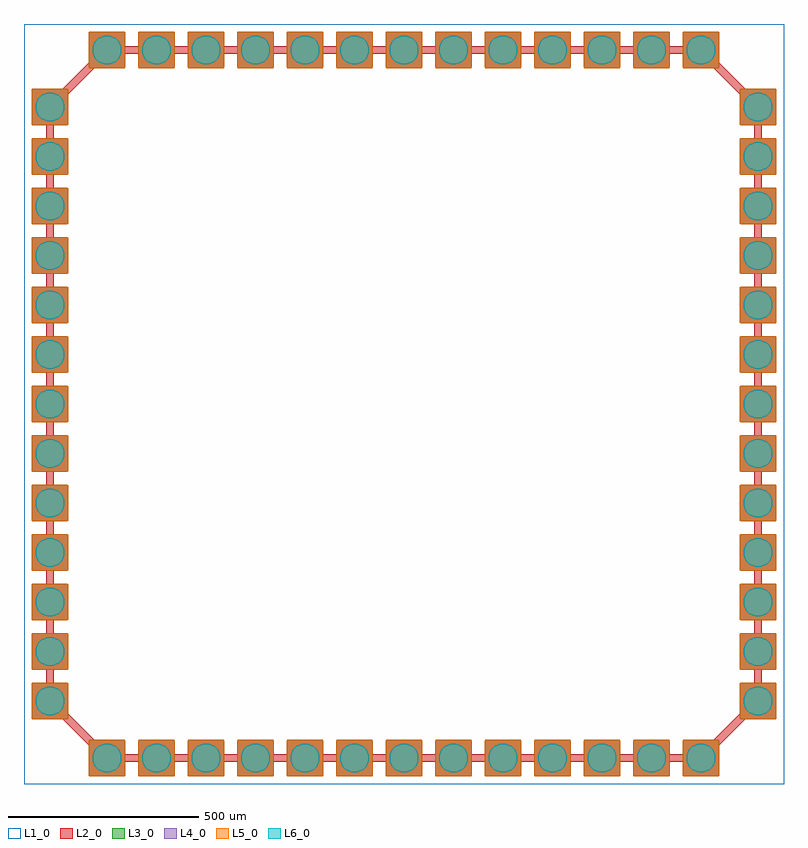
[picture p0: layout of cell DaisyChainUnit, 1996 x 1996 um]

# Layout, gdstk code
import gdstk
lib = gdstk.Library(unit=1e-6, precision=1e-09)
def R(c, l, rs):  # rectangles x0, y0, x1, y1
    for r in rs: c.add(gdstk.rectangle(r[:2], r[2:], *l))
def P(c, l, *ps):  # polygons
    for p in ps: c.add(gdstk.Polygon(p, *l))
L1_0 = (1, 0)
L2_0 = (2, 0)
L3_0 = (3, 0)
L4_0 = (4, 0)
L5_0 = (5, 0)
L6_0 = (6, 0)

daisychainunit = lib.new_cell('DaisyChainUnit')
R(daisychainunit, L1_0, [(2,2,1998,1998)])
P(daisychainunit, L2_0, [(268,23.9),(268,60),(302,60),(302,23.9),(303.9,22),(396.1,22),(398,23.9),(398,60),(432,60),(432,23.9),(433.9,22),(526.1,22),(528,23.9),(528,60),(562,60),(562,23.9),(563.9,22),(656.1,22),(658,23.9),(658,60),(692,60),(692,23.9),(693.9,22),(786.1,22),(788,23.9),(788,60),(822,60),(822,23.9),(823.9,22),(916.1,22),(918,23.9),(918,60),(952,60),(952,23.9),(953.9,22),(1046.1,22),(1048,23.9),(1048,60),(1082,60),(1082,23.9),(1083.9,22),(1176.1,22),(1178,23.9),(1178,60),(1212,60),(1212,23.9),(1213.9,22),(1306.1,22),(1308,23.9),(1308,60),(1342,60),(1342,23.9),(1343.9,22),(1436.1,22),(1438,23.9),(1438,60),(1472,60),(1472,23.9),(1473.9,22),(1566.1,22),(1568,23.9),(1568,60),(1602,60),(1602,23.9),(1603.9,22),(1696.1,22),(1698,23.9),(1698,60),(1732,60),(1732,23.9),(1733.9,22),(1826.1,22),(1828,23.9),(1828,103.858),(1896.142,172),(1976.1,172),(1978,173.9),(1978,266.1),(1976.1,268),(1883.9,268),(1882,266.1),(1882,186.142),(1813.858,118),(1733.9,118),(1732,116.1),(1732,80),(1698,80),(1698,116.1),(1696.1,118),(1603.9,118),(1602,116.1),(1602,80),(1568,80),(1568,116.1),(1566.1,118),(1473.9,118),(1472,116.1),(1472,80),(1438,80),(1438,116.1),(1436.1,118),(1343.9,118),(1342,116.1),(1342,80),(1308,80),(1308,116.1),(1306.1,118),(1213.9,118),(1212,116.1),(1212,80),(1178,80),(1178,116.1),(1176.1,118),(1083.9,118),(1082,116.1),(1082,80),(1048,80),(1048,116.1),(1046.1,118),(953.9,118),(952,116.1),(952,80),(918,80),(918,116.1),(916.1,118),(823.9,118),(822,116.1),(822,80),(788,80),(788,116.1),(786.1,118),(693.9,118),(692,116.1),(692,80),(658,80),(658,116.1),(656.1,118),(563.9,118),(562,116.1),(562,80),(528,80),(528,116.1),(526.1,118),(433.9,118),(432,116.1),(432,80),(398,80),(398,116.1),(396.1,118),(303.9,118),(302,116.1),(302,80),(268,80),(268,116.1),(266.1,118),(186.142,118),(118,186.142),(118,266.1),(116.1,268),(23.9,268),(22,266.1),(22,173.9),(23.9,172),(103.858,172),(172,103.858),(172,23.9),(173.9,22),(266.1,22)],
  [(80,302),(116.1,302),(118,303.9),(118,396.1),(116.1,398),(80,398),(80,432),(116.1,432),(118,433.9),(118,526.1),(116.1,528),(80,528),(80,562),(116.1,562),(118,563.9),(118,656.1),(116.1,658),(80,658),(80,692),(116.1,692),(118,693.9),(118,786.1),(116.1,788),(80,788),(80,822),(116.1,822),(118,823.9),(118,916.1),(116.1,918),(80,918),(80,952),(116.1,952),(118,953.9),(22,953.9),(23.9,952),(60,952),(60,918),(23.9,918),(22,916.1),(22,823.9),(23.9,822),(60,822),(60,788),(23.9,788),(22,786.1),(22,693.9),(23.9,692),(60,692),(60,658),(23.9,658),(22,656.1),(22,563.9),(23.9,562),(60,562),(60,528),(23.9,528),(22,526.1),(22,433.9),(23.9,432),(60,432),(60,398),(23.9,398),(22,396.1),(22,303.9),(23.9,302),(60,302),(60,268),(80,268)],
  [(1940,302),(1976.1,302),(1978,303.9),(1978,396.1),(1976.1,398),(1940,398),(1940,432),(1976.1,432),(1978,433.9),(1978,526.1),(1976.1,528),(1940,528),(1940,562),(1976.1,562),(1978,563.9),(1978,656.1),(1976.1,658),(1940,658),(1940,692),(1976.1,692),(1978,693.9),(1978,786.1),(1976.1,788),(1940,788),(1940,822),(1976.1,822),(1978,823.9),(1978,916.1),(1976.1,918),(1940,918),(1940,952),(1976.1,952),(1978,953.9),(1882,953.9),(1883.9,952),(1920,952),(1920,918),(1883.9,918),(1882,916.1),(1882,823.9),(1883.9,822),(1920,822),(1920,788),(1883.9,788),(1882,786.1),(1882,693.9),(1883.9,692),(1920,692),(1920,658),(1883.9,658),(1882,656.1),(1882,563.9),(1883.9,562),(1920,562),(1920,528),(1883.9,528),(1882,526.1),(1882,433.9),(1883.9,432),(1920,432),(1920,398),(1883.9,398),(1882,396.1),(1882,303.9),(1883.9,302),(1920,302),(1920,268),(1940,268)],
  [(118,1046.1),(116.1,1048),(80,1048),(80,1082),(116.1,1082),(118,1083.9),(118,1176.1),(116.1,1178),(80,1178),(80,1212),(116.1,1212),(118,1213.9),(118,1306.1),(116.1,1308),(80,1308),(80,1342),(116.1,1342),(118,1343.9),(118,1436.1),(116.1,1438),(80,1438),(80,1472),(116.1,1472),(118,1473.9),(118,1566.1),(116.1,1568),(80,1568),(80,1602),(116.1,1602),(118,1603.9),(118,1696.1),(116.1,1698),(80,1698),(80,1732),(60,1732),(60,1698),(23.9,1698),(22,1696.1),(22,1603.9),(23.9,1602),(60,1602),(60,1568),(23.9,1568),(22,1566.1),(22,1473.9),(23.9,1472),(60,1472),(60,1438),(23.9,1438),(22,1436.1),(22,1343.9),(23.9,1342),(60,1342),(60,1308),(23.9,1308),(22,1306.1),(22,1213.9),(23.9,1212),(60,1212),(60,1178),(23.9,1178),(22,1176.1),(22,1083.9),(23.9,1082),(60,1082),(60,1048),(23.9,1048),(22,1046.1),(22,953.9),(118,953.9)],
  [(1978,1046.1),(1976.1,1048),(1940,1048),(1940,1082),(1976.1,1082),(1978,1083.9),(1978,1176.1),(1976.1,1178),(1940,1178),(1940,1212),(1976.1,1212),(1978,1213.9),(1978,1306.1),(1976.1,1308),(1940,1308),(1940,1342),(1976.1,1342),(1978,1343.9),(1978,1436.1),(1976.1,1438),(1940,1438),(1940,1472),(1976.1,1472),(1978,1473.9),(1978,1566.1),(1976.1,1568),(1940,1568),(1940,1602),(1976.1,1602),(1978,1603.9),(1978,1696.1),(1976.1,1698),(1940,1698),(1940,1732),(1920,1732),(1920,1698),(1883.9,1698),(1882,1696.1),(1882,1603.9),(1883.9,1602),(1920,1602),(1920,1568),(1883.9,1568),(1882,1566.1),(1882,1473.9),(1883.9,1472),(1920,1472),(1920,1438),(1883.9,1438),(1882,1436.1),(1882,1343.9),(1883.9,1342),(1920,1342),(1920,1308),(1883.9,1308),(1882,1306.1),(1882,1213.9),(1883.9,1212),(1920,1212),(1920,1178),(1883.9,1178),(1882,1176.1),(1882,1083.9),(1883.9,1082),(1920,1082),(1920,1048),(1883.9,1048),(1882,1046.1),(1882,953.9),(1978,953.9)],
  [(118,1733.9),(118,1813.858),(186.142,1882),(266.1,1882),(268,1883.9),(268,1920),(302,1920),(302,1883.9),(303.9,1882),(396.1,1882),(398,1883.9),(398,1920),(432,1920),(432,1883.9),(433.9,1882),(526.1,1882),(528,1883.9),(528,1920),(562,1920),(562,1883.9),(563.9,1882),(656.1,1882),(658,1883.9),(658,1920),(692,1920),(692,1883.9),(693.9,1882),(786.1,1882),(788,1883.9),(788,1920),(822,1920),(822,1883.9),(823.9,1882),(916.1,1882),(918,1883.9),(918,1920),(952,1920),(952,1883.9),(953.9,1882),(1046.1,1882),(1048,1883.9),(1048,1920),(1082,1920),(1082,1883.9),(1083.9,1882),(1176.1,1882),(1178,1883.9),(1178,1920),(1212,1920),(1212,1883.9),(1213.9,1882),(1306.1,1882),(1308,1883.9),(1308,1920),(1342,1920),(1342,1883.9),(1343.9,1882),(1436.1,1882),(1438,1883.9),(1438,1920),(1472,1920),(1472,1883.9),(1473.9,1882),(1566.1,1882),(1568,1883.9),(1568,1920),(1602,1920),(1602,1883.9),(1603.9,1882),(1696.1,1882),(1698,1883.9),(1698,1920),(1732,1920),(1732,1883.9),(1733.9,1882),(1813.858,1882),(1882,1813.858),(1882,1733.9),(1883.9,1732),(1976.1,1732),(1978,1733.9),(1978,1826.1),(1976.1,1828),(1896.142,1828),(1828,1896.142),(1828,1976.1),(1826.1,1978),(1733.9,1978),(1732,1976.1),(1732,1940),(1698,1940),(1698,1976.1),(1696.1,1978),(1603.9,1978),(1602,1976.1),(1602,1940),(1568,1940),(1568,1976.1),(1566.1,1978),(1473.9,1978),(1472,1976.1),(1472,1940),(1438,1940),(1438,1976.1),(1436.1,1978),(1343.9,1978),(1342,1976.1),(1342,1940),(1308,1940),(1308,1976.1),(1306.1,1978),(1213.9,1978),(1212,1976.1),(1212,1940),(1178,1940),(1178,1976.1),(1176.1,1978),(1083.9,1978),(1082,1976.1),(1082,1940),(1048,1940),(1048,1976.1),(1046.1,1978),(953.9,1978),(952,1976.1),(952,1940),(918,1940),(918,1976.1),(916.1,1978),(823.9,1978),(822,1976.1),(822,1940),(788,1940),(788,1976.1),(786.1,1978),(693.9,1978),(692,1976.1),(692,1940),(658,1940),(658,1976.1),(656.1,1978),(563.9,1978),(562,1976.1),(562,1940),(528,1940),(528,1976.1),(526.1,1978),(433.9,1978),(432,1976.1),(432,1940),(398,1940),(398,1976.1),(396.1,1978),(303.9,1978),(302,1976.1),(302,1940),(268,1940),(268,1976.1),(266.1,1978),(173.9,1978),(172,1976.1),(172,1896.142),(103.858,1828),(23.9,1828),(22,1826.1),(22,1733.9),(23.9,1732),(116.1,1732)])
P(daisychainunit, L3_0, [(118,823.9),(116.1,822),(23.9,822),(22,823.9),(22,916.1),(23.9,918),(116.1,918),(118,916.1)],
  [(118,693.9),(116.1,692),(23.9,692),(22,693.9),(22,786.1),(23.9,788),(116.1,788),(118,786.1)],
  [(118,563.9),(116.1,562),(23.9,562),(22,563.9),(22,656.1),(23.9,658),(116.1,658),(118,656.1)],
  [(118,433.9),(116.1,432),(23.9,432),(22,433.9),(22,526.1),(23.9,528),(116.1,528),(118,526.1)],
  [(118,303.9),(116.1,302),(23.9,302),(22,303.9),(22,396.1),(23.9,398),(116.1,398),(118,396.1)],
  [(118,173.9),(116.1,172),(23.9,172),(22,173.9),(22,266.1),(23.9,268),(116.1,268),(118,266.1)],
  [(173.9,22),(172,23.9),(172,116.1),(173.9,118),(266.1,118),(268,116.1),(268,23.9),(266.1,22)],
  [(303.9,22),(302,23.9),(302,116.1),(303.9,118),(396.1,118),(398,116.1),(398,23.9),(396.1,22)],
  [(433.9,22),(432,23.9),(432,116.1),(433.9,118),(526.1,118),(528,116.1),(528,23.9),(526.1,22)],
  [(563.9,22),(562,23.9),(562,116.1),(563.9,118),(656.1,118),(658,116.1),(658,23.9),(656.1,22)],
  [(693.9,22),(692,23.9),(692,116.1),(693.9,118),(786.1,118),(788,116.1),(788,23.9),(786.1,22)],
  [(823.9,22),(822,23.9),(822,116.1),(823.9,118),(916.1,118),(918,116.1),(918,23.9),(916.1,22)],
  [(953.9,22),(952,23.9),(952,116.1),(953.9,118),(1046.1,118),(1048,116.1),(1048,23.9),(1046.1,22)],
  [(1083.9,22),(1082,23.9),(1082,116.1),(1083.9,118),(1176.1,118),(1178,116.1),(1178,23.9),(1176.1,22)],
  [(1213.9,22),(1212,23.9),(1212,116.1),(1213.9,118),(1306.1,118),(1308,116.1),(1308,23.9),(1306.1,22)],
  [(1343.9,22),(1342,23.9),(1342,116.1),(1343.9,118),(1436.1,118),(1438,116.1),(1438,23.9),(1436.1,22)],
  [(1473.9,22),(1472,23.9),(1472,116.1),(1473.9,118),(1566.1,118),(1568,116.1),(1568,23.9),(1566.1,22)],
  [(1603.9,22),(1602,23.9),(1602,116.1),(1603.9,118),(1696.1,118),(1698,116.1),(1698,23.9),(1696.1,22)],
  [(1733.9,22),(1732,23.9),(1732,116.1),(1733.9,118),(1826.1,118),(1828,116.1),(1828,23.9),(1826.1,22)],
  [(1882,266.1),(1883.9,268),(1976.1,268),(1978,266.1),(1978,173.9),(1976.1,172),(1883.9,172),(1882,173.9)],
  [(1882,396.1),(1883.9,398),(1976.1,398),(1978,396.1),(1978,303.9),(1976.1,302),(1883.9,302),(1882,303.9)],
  [(1882,526.1),(1883.9,528),(1976.1,528),(1978,526.1),(1978,433.9),(1976.1,432),(1883.9,432),(1882,433.9)],
  [(1882,656.1),(1883.9,658),(1976.1,658),(1978,656.1),(1978,563.9),(1976.1,562),(1883.9,562),(1882,563.9)],
  [(1882,786.1),(1883.9,788),(1976.1,788),(1978,786.1),(1978,693.9),(1976.1,692),(1883.9,692),(1882,693.9)],
  [(1882,916.1),(1883.9,918),(1976.1,918),(1978,916.1),(1978,823.9),(1976.1,822),(1883.9,822),(1882,823.9)],
  [(1882,1046.1),(1883.9,1048),(1976.1,1048),(1978,1046.1),(1978,953.9),(1976.1,952),(1883.9,952),(1882,953.9)],
  [(1882,1176.1),(1883.9,1178),(1976.1,1178),(1978,1176.1),(1978,1083.9),(1976.1,1082),(1883.9,1082),(1882,1083.9)],
  [(1882,1306.1),(1883.9,1308),(1976.1,1308),(1978,1306.1),(1978,1213.9),(1976.1,1212),(1883.9,1212),(1882,1213.9)],
  [(1882,1436.1),(1883.9,1438),(1976.1,1438),(1978,1436.1),(1978,1343.9),(1976.1,1342),(1883.9,1342),(1882,1343.9)],
  [(1882,1566.1),(1883.9,1568),(1976.1,1568),(1978,1566.1),(1978,1473.9),(1976.1,1472),(1883.9,1472),(1882,1473.9)],
  [(1882,1696.1),(1883.9,1698),(1976.1,1698),(1978,1696.1),(1978,1603.9),(1976.1,1602),(1883.9,1602),(1882,1603.9)],
  [(1882,1826.1),(1883.9,1828),(1976.1,1828),(1978,1826.1),(1978,1733.9),(1976.1,1732),(1883.9,1732),(1882,1733.9)],
  [(1826.1,1978),(1828,1976.1),(1828,1883.9),(1826.1,1882),(1733.9,1882),(1732,1883.9),(1732,1976.1),(1733.9,1978)],
  [(1696.1,1978),(1698,1976.1),(1698,1883.9),(1696.1,1882),(1603.9,1882),(1602,1883.9),(1602,1976.1),(1603.9,1978)],
  [(1566.1,1978),(1568,1976.1),(1568,1883.9),(1566.1,1882),(1473.9,1882),(1472,1883.9),(1472,1976.1),(1473.9,1978)],
  [(1436.1,1978),(1438,1976.1),(1438,1883.9),(1436.1,1882),(1343.9,1882),(1342,1883.9),(1342,1976.1),(1343.9,1978)],
  [(1306.1,1978),(1308,1976.1),(1308,1883.9),(1306.1,1882),(1213.9,1882),(1212,1883.9),(1212,1976.1),(1213.9,1978)],
  [(1176.1,1978),(1178,1976.1),(1178,1883.9),(1176.1,1882),(1083.9,1882),(1082,1883.9),(1082,1976.1),(1083.9,1978)],
  [(1046.1,1978),(1048,1976.1),(1048,1883.9),(1046.1,1882),(953.9,1882),(952,1883.9),(952,1976.1),(953.9,1978)],
  [(916.1,1978),(918,1976.1),(918,1883.9),(916.1,1882),(823.9,1882),(822,1883.9),(822,1976.1),(823.9,1978)],
  [(786.1,1978),(788,1976.1),(788,1883.9),(786.1,1882),(693.9,1882),(692,1883.9),(692,1976.1),(693.9,1978)],
  [(656.1,1978),(658,1976.1),(658,1883.9),(656.1,1882),(563.9,1882),(562,1883.9),(562,1976.1),(563.9,1978)],
  [(526.1,1978),(528,1976.1),(528,1883.9),(526.1,1882),(433.9,1882),(432,1883.9),(432,1976.1),(433.9,1978)],
  [(396.1,1978),(398,1976.1),(398,1883.9),(396.1,1882),(303.9,1882),(302,1883.9),(302,1976.1),(303.9,1978)],
  [(266.1,1978),(268,1976.1),(268,1883.9),(266.1,1882),(173.9,1882),(172,1883.9),(172,1976.1),(173.9,1978)],
  [(118,1733.9),(116.1,1732),(23.9,1732),(22,1733.9),(22,1826.1),(23.9,1828),(116.1,1828),(118,1826.1)],
  [(118,1603.9),(116.1,1602),(23.9,1602),(22,1603.9),(22,1696.1),(23.9,1698),(116.1,1698),(118,1696.1)],
  [(118,1473.9),(116.1,1472),(23.9,1472),(22,1473.9),(22,1566.1),(23.9,1568),(116.1,1568),(118,1566.1)],
  [(118,1343.9),(116.1,1342),(23.9,1342),(22,1343.9),(22,1436.1),(23.9,1438),(116.1,1438),(118,1436.1)],
  [(118,1213.9),(116.1,1212),(23.9,1212),(22,1213.9),(22,1306.1),(23.9,1308),(116.1,1308),(118,1306.1)],
  [(118,1083.9),(116.1,1082),(23.9,1082),(22,1083.9),(22,1176.1),(23.9,1178),(116.1,1178),(118,1176.1)],
  [(118,953.9),(116.1,952),(23.9,952),(22,953.9),(22,1046.1),(23.9,1048),(116.1,1048),(118,1046.1)])
P(daisychainunit, L4_0, [(118,823.9),(116.1,822),(23.9,822),(22,823.9),(22,916.1),(23.9,918),(116.1,918),(118,916.1)],
  [(118,693.9),(116.1,692),(23.9,692),(22,693.9),(22,786.1),(23.9,788),(116.1,788),(118,786.1)],
  [(118,563.9),(116.1,562),(23.9,562),(22,563.9),(22,656.1),(23.9,658),(116.1,658),(118,656.1)],
  [(118,433.9),(116.1,432),(23.9,432),(22,433.9),(22,526.1),(23.9,528),(116.1,528),(118,526.1)],
  [(118,303.9),(116.1,302),(23.9,302),(22,303.9),(22,396.1),(23.9,398),(116.1,398),(118,396.1)],
  [(118,173.9),(116.1,172),(23.9,172),(22,173.9),(22,266.1),(23.9,268),(116.1,268),(118,266.1)],
  [(173.9,22),(172,23.9),(172,116.1),(173.9,118),(266.1,118),(268,116.1),(268,23.9),(266.1,22)],
  [(303.9,22),(302,23.9),(302,116.1),(303.9,118),(396.1,118),(398,116.1),(398,23.9),(396.1,22)],
  [(433.9,22),(432,23.9),(432,116.1),(433.9,118),(526.1,118),(528,116.1),(528,23.9),(526.1,22)],
  [(563.9,22),(562,23.9),(562,116.1),(563.9,118),(656.1,118),(658,116.1),(658,23.9),(656.1,22)],
  [(693.9,22),(692,23.9),(692,116.1),(693.9,118),(786.1,118),(788,116.1),(788,23.9),(786.1,22)],
  [(823.9,22),(822,23.9),(822,116.1),(823.9,118),(916.1,118),(918,116.1),(918,23.9),(916.1,22)],
  [(953.9,22),(952,23.9),(952,116.1),(953.9,118),(1046.1,118),(1048,116.1),(1048,23.9),(1046.1,22)],
  [(1083.9,22),(1082,23.9),(1082,116.1),(1083.9,118),(1176.1,118),(1178,116.1),(1178,23.9),(1176.1,22)],
  [(1213.9,22),(1212,23.9),(1212,116.1),(1213.9,118),(1306.1,118),(1308,116.1),(1308,23.9),(1306.1,22)],
  [(1343.9,22),(1342,23.9),(1342,116.1),(1343.9,118),(1436.1,118),(1438,116.1),(1438,23.9),(1436.1,22)],
  [(1473.9,22),(1472,23.9),(1472,116.1),(1473.9,118),(1566.1,118),(1568,116.1),(1568,23.9),(1566.1,22)],
  [(1603.9,22),(1602,23.9),(1602,116.1),(1603.9,118),(1696.1,118),(1698,116.1),(1698,23.9),(1696.1,22)],
  [(1733.9,22),(1732,23.9),(1732,116.1),(1733.9,118),(1826.1,118),(1828,116.1),(1828,23.9),(1826.1,22)],
  [(1882,266.1),(1883.9,268),(1976.1,268),(1978,266.1),(1978,173.9),(1976.1,172),(1883.9,172),(1882,173.9)],
  [(1882,396.1),(1883.9,398),(1976.1,398),(1978,396.1),(1978,303.9),(1976.1,302),(1883.9,302),(1882,303.9)],
  [(1882,526.1),(1883.9,528),(1976.1,528),(1978,526.1),(1978,433.9),(1976.1,432),(1883.9,432),(1882,433.9)],
  [(1882,656.1),(1883.9,658),(1976.1,658),(1978,656.1),(1978,563.9),(1976.1,562),(1883.9,562),(1882,563.9)],
  [(1882,786.1),(1883.9,788),(1976.1,788),(1978,786.1),(1978,693.9),(1976.1,692),(1883.9,692),(1882,693.9)],
  [(1882,916.1),(1883.9,918),(1976.1,918),(1978,916.1),(1978,823.9),(1976.1,822),(1883.9,822),(1882,823.9)],
  [(1882,1046.1),(1883.9,1048),(1976.1,1048),(1978,1046.1),(1978,953.9),(1976.1,952),(1883.9,952),(1882,953.9)],
  [(1882,1176.1),(1883.9,1178),(1976.1,1178),(1978,1176.1),(1978,1083.9),(1976.1,1082),(1883.9,1082),(1882,1083.9)],
  [(1882,1306.1),(1883.9,1308),(1976.1,1308),(1978,1306.1),(1978,1213.9),(1976.1,1212),(1883.9,1212),(1882,1213.9)],
  [(1882,1436.1),(1883.9,1438),(1976.1,1438),(1978,1436.1),(1978,1343.9),(1976.1,1342),(1883.9,1342),(1882,1343.9)],
  [(1882,1566.1),(1883.9,1568),(1976.1,1568),(1978,1566.1),(1978,1473.9),(1976.1,1472),(1883.9,1472),(1882,1473.9)],
  [(1882,1696.1),(1883.9,1698),(1976.1,1698),(1978,1696.1),(1978,1603.9),(1976.1,1602),(1883.9,1602),(1882,1603.9)],
  [(1882,1826.1),(1883.9,1828),(1976.1,1828),(1978,1826.1),(1978,1733.9),(1976.1,1732),(1883.9,1732),(1882,1733.9)],
  [(1826.1,1978),(1828,1976.1),(1828,1883.9),(1826.1,1882),(1733.9,1882),(1732,1883.9),(1732,1976.1),(1733.9,1978)],
  [(1696.1,1978),(1698,1976.1),(1698,1883.9),(1696.1,1882),(1603.9,1882),(1602,1883.9),(1602,1976.1),(1603.9,1978)],
  [(1566.1,1978),(1568,1976.1),(1568,1883.9),(1566.1,1882),(1473.9,1882),(1472,1883.9),(1472,1976.1),(1473.9,1978)],
  [(1436.1,1978),(1438,1976.1),(1438,1883.9),(1436.1,1882),(1343.9,1882),(1342,1883.9),(1342,1976.1),(1343.9,1978)],
  [(1306.1,1978),(1308,1976.1),(1308,1883.9),(1306.1,1882),(1213.9,1882),(1212,1883.9),(1212,1976.1),(1213.9,1978)],
  [(1176.1,1978),(1178,1976.1),(1178,1883.9),(1176.1,1882),(1083.9,1882),(1082,1883.9),(1082,1976.1),(1083.9,1978)],
  [(1046.1,1978),(1048,1976.1),(1048,1883.9),(1046.1,1882),(953.9,1882),(952,1883.9),(952,1976.1),(953.9,1978)],
  [(916.1,1978),(918,1976.1),(918,1883.9),(916.1,1882),(823.9,1882),(822,1883.9),(822,1976.1),(823.9,1978)],
  [(786.1,1978),(788,1976.1),(788,1883.9),(786.1,1882),(693.9,1882),(692,1883.9),(692,1976.1),(693.9,1978)],
  [(656.1,1978),(658,1976.1),(658,1883.9),(656.1,1882),(563.9,1882),(562,1883.9),(562,1976.1),(563.9,1978)],
  [(526.1,1978),(528,1976.1),(528,1883.9),(526.1,1882),(433.9,1882),(432,1883.9),(432,1976.1),(433.9,1978)],
  [(396.1,1978),(398,1976.1),(398,1883.9),(396.1,1882),(303.9,1882),(302,1883.9),(302,1976.1),(303.9,1978)],
  [(266.1,1978),(268,1976.1),(268,1883.9),(266.1,1882),(173.9,1882),(172,1883.9),(172,1976.1),(173.9,1978)],
  [(118,1733.9),(116.1,1732),(23.9,1732),(22,1733.9),(22,1826.1),(23.9,1828),(116.1,1828),(118,1826.1)],
  [(118,1603.9),(116.1,1602),(23.9,1602),(22,1603.9),(22,1696.1),(23.9,1698),(116.1,1698),(118,1696.1)],
  [(118,1473.9),(116.1,1472),(23.9,1472),(22,1473.9),(22,1566.1),(23.9,1568),(116.1,1568),(118,1566.1)],
  [(118,1343.9),(116.1,1342),(23.9,1342),(22,1343.9),(22,1436.1),(23.9,1438),(116.1,1438),(118,1436.1)],
  [(118,1213.9),(116.1,1212),(23.9,1212),(22,1213.9),(22,1306.1),(23.9,1308),(116.1,1308),(118,1306.1)],
  [(118,1083.9),(116.1,1082),(23.9,1082),(22,1083.9),(22,1176.1),(23.9,1178),(116.1,1178),(118,1176.1)],
  [(118,953.9),(116.1,952),(23.9,952),(22,953.9),(22,1046.1),(23.9,1048),(116.1,1048),(118,1046.1)])
P(daisychainunit, L5_0, [(118,823.9),(116.1,822),(23.9,822),(22,823.9),(22,916.1),(23.9,918),(116.1,918),(118,916.1)],
  [(118,693.9),(116.1,692),(23.9,692),(22,693.9),(22,786.1),(23.9,788),(116.1,788),(118,786.1)],
  [(118,563.9),(116.1,562),(23.9,562),(22,563.9),(22,656.1),(23.9,658),(116.1,658),(118,656.1)],
  [(118,433.9),(116.1,432),(23.9,432),(22,433.9),(22,526.1),(23.9,528),(116.1,528),(118,526.1)],
  [(118,303.9),(116.1,302),(23.9,302),(22,303.9),(22,396.1),(23.9,398),(116.1,398),(118,396.1)],
  [(118,173.9),(116.1,172),(23.9,172),(22,173.9),(22,266.1),(23.9,268),(116.1,268),(118,266.1)],
  [(173.9,22),(172,23.9),(172,116.1),(173.9,118),(266.1,118),(268,116.1),(268,23.9),(266.1,22)],
  [(303.9,22),(302,23.9),(302,116.1),(303.9,118),(396.1,118),(398,116.1),(398,23.9),(396.1,22)],
  [(433.9,22),(432,23.9),(432,116.1),(433.9,118),(526.1,118),(528,116.1),(528,23.9),(526.1,22)],
  [(563.9,22),(562,23.9),(562,116.1),(563.9,118),(656.1,118),(658,116.1),(658,23.9),(656.1,22)],
  [(693.9,22),(692,23.9),(692,116.1),(693.9,118),(786.1,118),(788,116.1),(788,23.9),(786.1,22)],
  [(823.9,22),(822,23.9),(822,116.1),(823.9,118),(916.1,118),(918,116.1),(918,23.9),(916.1,22)],
  [(953.9,22),(952,23.9),(952,116.1),(953.9,118),(1046.1,118),(1048,116.1),(1048,23.9),(1046.1,22)],
  [(1083.9,22),(1082,23.9),(1082,116.1),(1083.9,118),(1176.1,118),(1178,116.1),(1178,23.9),(1176.1,22)],
  [(1213.9,22),(1212,23.9),(1212,116.1),(1213.9,118),(1306.1,118),(1308,116.1),(1308,23.9),(1306.1,22)],
  [(1343.9,22),(1342,23.9),(1342,116.1),(1343.9,118),(1436.1,118),(1438,116.1),(1438,23.9),(1436.1,22)],
  [(1473.9,22),(1472,23.9),(1472,116.1),(1473.9,118),(1566.1,118),(1568,116.1),(1568,23.9),(1566.1,22)],
  [(1603.9,22),(1602,23.9),(1602,116.1),(1603.9,118),(1696.1,118),(1698,116.1),(1698,23.9),(1696.1,22)],
  [(1733.9,22),(1732,23.9),(1732,116.1),(1733.9,118),(1826.1,118),(1828,116.1),(1828,23.9),(1826.1,22)],
  [(1882,266.1),(1883.9,268),(1976.1,268),(1978,266.1),(1978,173.9),(1976.1,172),(1883.9,172),(1882,173.9)],
  [(1882,396.1),(1883.9,398),(1976.1,398),(1978,396.1),(1978,303.9),(1976.1,302),(1883.9,302),(1882,303.9)],
  [(1882,526.1),(1883.9,528),(1976.1,528),(1978,526.1),(1978,433.9),(1976.1,432),(1883.9,432),(1882,433.9)],
  [(1882,656.1),(1883.9,658),(1976.1,658),(1978,656.1),(1978,563.9),(1976.1,562),(1883.9,562),(1882,563.9)],
  [(1882,786.1),(1883.9,788),(1976.1,788),(1978,786.1),(1978,693.9),(1976.1,692),(1883.9,692),(1882,693.9)],
  [(1882,916.1),(1883.9,918),(1976.1,918),(1978,916.1),(1978,823.9),(1976.1,822),(1883.9,822),(1882,823.9)],
  [(1882,1046.1),(1883.9,1048),(1976.1,1048),(1978,1046.1),(1978,953.9),(1976.1,952),(1883.9,952),(1882,953.9)],
  [(1882,1176.1),(1883.9,1178),(1976.1,1178),(1978,1176.1),(1978,1083.9),(1976.1,1082),(1883.9,1082),(1882,1083.9)],
  [(1882,1306.1),(1883.9,1308),(1976.1,1308),(1978,1306.1),(1978,1213.9),(1976.1,1212),(1883.9,1212),(1882,1213.9)],
  [(1882,1436.1),(1883.9,1438),(1976.1,1438),(1978,1436.1),(1978,1343.9),(1976.1,1342),(1883.9,1342),(1882,1343.9)],
  [(1882,1566.1),(1883.9,1568),(1976.1,1568),(1978,1566.1),(1978,1473.9),(1976.1,1472),(1883.9,1472),(1882,1473.9)],
  [(1882,1696.1),(1883.9,1698),(1976.1,1698),(1978,1696.1),(1978,1603.9),(1976.1,1602),(1883.9,1602),(1882,1603.9)],
  [(1882,1826.1),(1883.9,1828),(1976.1,1828),(1978,1826.1),(1978,1733.9),(1976.1,1732),(1883.9,1732),(1882,1733.9)],
  [(1826.1,1978),(1828,1976.1),(1828,1883.9),(1826.1,1882),(1733.9,1882),(1732,1883.9),(1732,1976.1),(1733.9,1978)],
  [(1696.1,1978),(1698,1976.1),(1698,1883.9),(1696.1,1882),(1603.9,1882),(1602,1883.9),(1602,1976.1),(1603.9,1978)],
  [(1566.1,1978),(1568,1976.1),(1568,1883.9),(1566.1,1882),(1473.9,1882),(1472,1883.9),(1472,1976.1),(1473.9,1978)],
  [(1436.1,1978),(1438,1976.1),(1438,1883.9),(1436.1,1882),(1343.9,1882),(1342,1883.9),(1342,1976.1),(1343.9,1978)],
  [(1306.1,1978),(1308,1976.1),(1308,1883.9),(1306.1,1882),(1213.9,1882),(1212,1883.9),(1212,1976.1),(1213.9,1978)],
  [(1176.1,1978),(1178,1976.1),(1178,1883.9),(1176.1,1882),(1083.9,1882),(1082,1883.9),(1082,1976.1),(1083.9,1978)],
  [(1046.1,1978),(1048,1976.1),(1048,1883.9),(1046.1,1882),(953.9,1882),(952,1883.9),(952,1976.1),(953.9,1978)],
  [(916.1,1978),(918,1976.1),(918,1883.9),(916.1,1882),(823.9,1882),(822,1883.9),(822,1976.1),(823.9,1978)],
  [(786.1,1978),(788,1976.1),(788,1883.9),(786.1,1882),(693.9,1882),(692,1883.9),(692,1976.1),(693.9,1978)],
  [(656.1,1978),(658,1976.1),(658,1883.9),(656.1,1882),(563.9,1882),(562,1883.9),(562,1976.1),(563.9,1978)],
  [(526.1,1978),(528,1976.1),(528,1883.9),(526.1,1882),(433.9,1882),(432,1883.9),(432,1976.1),(433.9,1978)],
  [(396.1,1978),(398,1976.1),(398,1883.9),(396.1,1882),(303.9,1882),(302,1883.9),(302,1976.1),(303.9,1978)],
  [(266.1,1978),(268,1976.1),(268,1883.9),(266.1,1882),(173.9,1882),(172,1883.9),(172,1976.1),(173.9,1978)],
  [(118,1733.9),(116.1,1732),(23.9,1732),(22,1733.9),(22,1826.1),(23.9,1828),(116.1,1828),(118,1826.1)],
  [(118,1603.9),(116.1,1602),(23.9,1602),(22,1603.9),(22,1696.1),(23.9,1698),(116.1,1698),(118,1696.1)],
  [(118,1473.9),(116.1,1472),(23.9,1472),(22,1473.9),(22,1566.1),(23.9,1568),(116.1,1568),(118,1566.1)],
  [(118,1343.9),(116.1,1342),(23.9,1342),(22,1343.9),(22,1436.1),(23.9,1438),(116.1,1438),(118,1436.1)],
  [(118,1213.9),(116.1,1212),(23.9,1212),(22,1213.9),(22,1306.1),(23.9,1308),(116.1,1308),(118,1306.1)],
  [(118,1083.9),(116.1,1082),(23.9,1082),(22,1083.9),(22,1176.1),(23.9,1178),(116.1,1178),(118,1176.1)],
  [(118,953.9),(116.1,952),(23.9,952),(22,953.9),(22,1046.1),(23.9,1048),(116.1,1048),(118,1046.1)])
P(daisychainunit, L6_0, [(77.5,832.295),(91.358,838.035),(101.965,848.642),(107.705,862.5),(107.705,877.5),(101.965,891.358),(91.358,901.965),(77.5,907.705),(62.5,907.705),(48.642,901.965),(38.035,891.358),(32.295,877.5),(32.295,862.5),(38.035,848.642),(48.642,838.035),(62.5,832.295)],
  [(77.5,702.295),(91.358,708.035),(101.965,718.642),(107.705,732.5),(107.705,747.5),(101.965,761.358),(91.358,771.965),(77.5,777.705),(62.5,777.705),(48.642,771.965),(38.035,761.358),(32.295,747.5),(32.295,732.5),(38.035,718.642),(48.642,708.035),(62.5,702.295)],
  [(77.5,572.295),(91.358,578.035),(101.965,588.642),(107.705,602.5),(107.705,617.5),(101.965,631.358),(91.358,641.965),(77.5,647.705),(62.5,647.705),(48.642,641.965),(38.035,631.358),(32.295,617.5),(32.295,602.5),(38.035,588.642),(48.642,578.035),(62.5,572.295)],
  [(77.5,442.295),(91.358,448.035),(101.965,458.642),(107.705,472.5),(107.705,487.5),(101.965,501.358),(91.358,511.965),(77.5,517.705),(62.5,517.705),(48.642,511.965),(38.035,501.358),(32.295,487.5),(32.295,472.5),(38.035,458.642),(48.642,448.035),(62.5,442.295)],
  [(77.5,312.295),(91.358,318.035),(101.965,328.642),(107.705,342.5),(107.705,357.5),(101.965,371.358),(91.358,381.965),(77.5,387.705),(62.5,387.705),(48.642,381.965),(38.035,371.358),(32.295,357.5),(32.295,342.5),(38.035,328.642),(48.642,318.035),(62.5,312.295)],
  [(77.5,182.295),(91.358,188.035),(101.965,198.642),(107.705,212.5),(107.705,227.5),(101.965,241.358),(91.358,251.965),(77.5,257.705),(62.5,257.705),(48.642,251.965),(38.035,241.358),(32.295,227.5),(32.295,212.5),(38.035,198.642),(48.642,188.035),(62.5,182.295)],
  [(227.5,32.295),(241.358,38.035),(251.965,48.642),(257.705,62.5),(257.705,77.5),(251.965,91.358),(241.358,101.965),(227.5,107.705),(212.5,107.705),(198.642,101.965),(188.035,91.358),(182.295,77.5),(182.295,62.5),(188.035,48.642),(198.642,38.035),(212.5,32.295)],
  [(357.5,32.295),(371.358,38.035),(381.965,48.642),(387.705,62.5),(387.705,77.5),(381.965,91.358),(371.358,101.965),(357.5,107.705),(342.5,107.705),(328.642,101.965),(318.035,91.358),(312.295,77.5),(312.295,62.5),(318.035,48.642),(328.642,38.035),(342.5,32.295)],
  [(487.5,32.295),(501.358,38.035),(511.965,48.642),(517.705,62.5),(517.705,77.5),(511.965,91.358),(501.358,101.965),(487.5,107.705),(472.5,107.705),(458.642,101.965),(448.035,91.358),(442.295,77.5),(442.295,62.5),(448.035,48.642),(458.642,38.035),(472.5,32.295)],
  [(617.5,32.295),(631.358,38.035),(641.965,48.642),(647.705,62.5),(647.705,77.5),(641.965,91.358),(631.358,101.965),(617.5,107.705),(602.5,107.705),(588.642,101.965),(578.035,91.358),(572.295,77.5),(572.295,62.5),(578.035,48.642),(588.642,38.035),(602.5,32.295)],
  [(747.5,32.295),(761.358,38.035),(771.965,48.642),(777.705,62.5),(777.705,77.5),(771.965,91.358),(761.358,101.965),(747.5,107.705),(732.5,107.705),(718.642,101.965),(708.035,91.358),(702.295,77.5),(702.295,62.5),(708.035,48.642),(718.642,38.035),(732.5,32.295)],
  [(877.5,32.295),(891.358,38.035),(901.965,48.642),(907.705,62.5),(907.705,77.5),(901.965,91.358),(891.358,101.965),(877.5,107.705),(862.5,107.705),(848.642,101.965),(838.035,91.358),(832.295,77.5),(832.295,62.5),(838.035,48.642),(848.642,38.035),(862.5,32.295)],
  [(1007.5,32.295),(1021.358,38.035),(1031.965,48.642),(1037.705,62.5),(1037.705,77.5),(1031.965,91.358),(1021.358,101.965),(1007.5,107.705),(992.5,107.705),(978.642,101.965),(968.035,91.358),(962.295,77.5),(962.295,62.5),(968.035,48.642),(978.642,38.035),(992.5,32.295)],
  [(1137.5,32.295),(1151.358,38.035),(1161.965,48.642),(1167.705,62.5),(1167.705,77.5),(1161.965,91.358),(1151.358,101.965),(1137.5,107.705),(1122.5,107.705),(1108.642,101.965),(1098.035,91.358),(1092.295,77.5),(1092.295,62.5),(1098.035,48.642),(1108.642,38.035),(1122.5,32.295)],
  [(1267.5,32.295),(1281.358,38.035),(1291.965,48.642),(1297.705,62.5),(1297.705,77.5),(1291.965,91.358),(1281.358,101.965),(1267.5,107.705),(1252.5,107.705),(1238.642,101.965),(1228.035,91.358),(1222.295,77.5),(1222.295,62.5),(1228.035,48.642),(1238.642,38.035),(1252.5,32.295)],
  [(1397.5,32.295),(1411.358,38.035),(1421.965,48.642),(1427.705,62.5),(1427.705,77.5),(1421.965,91.358),(1411.358,101.965),(1397.5,107.705),(1382.5,107.705),(1368.642,101.965),(1358.035,91.358),(1352.295,77.5),(1352.295,62.5),(1358.035,48.642),(1368.642,38.035),(1382.5,32.295)],
  [(1527.5,32.295),(1541.358,38.035),(1551.965,48.642),(1557.705,62.5),(1557.705,77.5),(1551.965,91.358),(1541.358,101.965),(1527.5,107.705),(1512.5,107.705),(1498.642,101.965),(1488.035,91.358),(1482.295,77.5),(1482.295,62.5),(1488.035,48.642),(1498.642,38.035),(1512.5,32.295)],
  [(1657.5,32.295),(1671.358,38.035),(1681.965,48.642),(1687.705,62.5),(1687.705,77.5),(1681.965,91.358),(1671.358,101.965),(1657.5,107.705),(1642.5,107.705),(1628.642,101.965),(1618.035,91.358),(1612.295,77.5),(1612.295,62.5),(1618.035,48.642),(1628.642,38.035),(1642.5,32.295)],
  [(1787.5,32.295),(1801.358,38.035),(1811.965,48.642),(1817.705,62.5),(1817.705,77.5),(1811.965,91.358),(1801.358,101.965),(1787.5,107.705),(1772.5,107.705),(1758.642,101.965),(1748.035,91.358),(1742.295,77.5),(1742.295,62.5),(1748.035,48.642),(1758.642,38.035),(1772.5,32.295)],
  [(1937.5,182.295),(1951.358,188.035),(1961.965,198.642),(1967.705,212.5),(1967.705,227.5),(1961.965,241.358),(1951.358,251.965),(1937.5,257.705),(1922.5,257.705),(1908.642,251.965),(1898.035,241.358),(1892.295,227.5),(1892.295,212.5),(1898.035,198.642),(1908.642,188.035),(1922.5,182.295)],
  [(1937.5,312.295),(1951.358,318.035),(1961.965,328.642),(1967.705,342.5),(1967.705,357.5),(1961.965,371.358),(1951.358,381.965),(1937.5,387.705),(1922.5,387.705),(1908.642,381.965),(1898.035,371.358),(1892.295,357.5),(1892.295,342.5),(1898.035,328.642),(1908.642,318.035),(1922.5,312.295)],
  [(1937.5,442.295),(1951.358,448.035),(1961.965,458.642),(1967.705,472.5),(1967.705,487.5),(1961.965,501.358),(1951.358,511.965),(1937.5,517.705),(1922.5,517.705),(1908.642,511.965),(1898.035,501.358),(1892.295,487.5),(1892.295,472.5),(1898.035,458.642),(1908.642,448.035),(1922.5,442.295)],
  [(1937.5,572.295),(1951.358,578.035),(1961.965,588.642),(1967.705,602.5),(1967.705,617.5),(1961.965,631.358),(1951.358,641.965),(1937.5,647.705),(1922.5,647.705),(1908.642,641.965),(1898.035,631.358),(1892.295,617.5),(1892.295,602.5),(1898.035,588.642),(1908.642,578.035),(1922.5,572.295)],
  [(1937.5,702.295),(1951.358,708.035),(1961.965,718.642),(1967.705,732.5),(1967.705,747.5),(1961.965,761.358),(1951.358,771.965),(1937.5,777.705),(1922.5,777.705),(1908.642,771.965),(1898.035,761.358),(1892.295,747.5),(1892.295,732.5),(1898.035,718.642),(1908.642,708.035),(1922.5,702.295)],
  [(1937.5,832.295),(1951.358,838.035),(1961.965,848.642),(1967.705,862.5),(1967.705,877.5),(1961.965,891.358),(1951.358,901.965),(1937.5,907.705),(1922.5,907.705),(1908.642,901.965),(1898.035,891.358),(1892.295,877.5),(1892.295,862.5),(1898.035,848.642),(1908.642,838.035),(1922.5,832.295)],
  [(1937.5,962.295),(1951.358,968.035),(1961.965,978.642),(1967.705,992.5),(1967.705,1007.5),(1961.965,1021.358),(1951.358,1031.965),(1937.5,1037.705),(1922.5,1037.705),(1908.642,1031.965),(1898.035,1021.358),(1892.295,1007.5),(1892.295,992.5),(1898.035,978.642),(1908.642,968.035),(1922.5,962.295)],
  [(1937.5,1092.295),(1951.358,1098.035),(1961.965,1108.642),(1967.705,1122.5),(1967.705,1137.5),(1961.965,1151.358),(1951.358,1161.965),(1937.5,1167.705),(1922.5,1167.705),(1908.642,1161.965),(1898.035,1151.358),(1892.295,1137.5),(1892.295,1122.5),(1898.035,1108.642),(1908.642,1098.035),(1922.5,1092.295)],
  [(1937.5,1222.295),(1951.358,1228.035),(1961.965,1238.642),(1967.705,1252.5),(1967.705,1267.5),(1961.965,1281.358),(1951.358,1291.965),(1937.5,1297.705),(1922.5,1297.705),(1908.642,1291.965),(1898.035,1281.358),(1892.295,1267.5),(1892.295,1252.5),(1898.035,1238.642),(1908.642,1228.035),(1922.5,1222.295)],
  [(1937.5,1352.295),(1951.358,1358.035),(1961.965,1368.642),(1967.705,1382.5),(1967.705,1397.5),(1961.965,1411.358),(1951.358,1421.965),(1937.5,1427.705),(1922.5,1427.705),(1908.642,1421.965),(1898.035,1411.358),(1892.295,1397.5),(1892.295,1382.5),(1898.035,1368.642),(1908.642,1358.035),(1922.5,1352.295)],
  [(1937.5,1482.295),(1951.358,1488.035),(1961.965,1498.642),(1967.705,1512.5),(1967.705,1527.5),(1961.965,1541.358),(1951.358,1551.965),(1937.5,1557.705),(1922.5,1557.705),(1908.642,1551.965),(1898.035,1541.358),(1892.295,1527.5),(1892.295,1512.5),(1898.035,1498.642),(1908.642,1488.035),(1922.5,1482.295)],
  [(1937.5,1612.295),(1951.358,1618.035),(1961.965,1628.642),(1967.705,1642.5),(1967.705,1657.5),(1961.965,1671.358),(1951.358,1681.965),(1937.5,1687.705),(1922.5,1687.705),(1908.642,1681.965),(1898.035,1671.358),(1892.295,1657.5),(1892.295,1642.5),(1898.035,1628.642),(1908.642,1618.035),(1922.5,1612.295)],
  [(1937.5,1742.295),(1951.358,1748.035),(1961.965,1758.642),(1967.705,1772.5),(1967.705,1787.5),(1961.965,1801.358),(1951.358,1811.965),(1937.5,1817.705),(1922.5,1817.705),(1908.642,1811.965),(1898.035,1801.358),(1892.295,1787.5),(1892.295,1772.5),(1898.035,1758.642),(1908.642,1748.035),(1922.5,1742.295)],
  [(1787.5,1892.295),(1801.358,1898.035),(1811.965,1908.642),(1817.705,1922.5),(1817.705,1937.5),(1811.965,1951.358),(1801.358,1961.965),(1787.5,1967.705),(1772.5,1967.705),(1758.642,1961.965),(1748.035,1951.358),(1742.295,1937.5),(1742.295,1922.5),(1748.035,1908.642),(1758.642,1898.035),(1772.5,1892.295)],
  [(1657.5,1892.295),(1671.358,1898.035),(1681.965,1908.642),(1687.705,1922.5),(1687.705,1937.5),(1681.965,1951.358),(1671.358,1961.965),(1657.5,1967.705),(1642.5,1967.705),(1628.642,1961.965),(1618.035,1951.358),(1612.295,1937.5),(1612.295,1922.5),(1618.035,1908.642),(1628.642,1898.035),(1642.5,1892.295)],
  [(1527.5,1892.295),(1541.358,1898.035),(1551.965,1908.642),(1557.705,1922.5),(1557.705,1937.5),(1551.965,1951.358),(1541.358,1961.965),(1527.5,1967.705),(1512.5,1967.705),(1498.642,1961.965),(1488.035,1951.358),(1482.295,1937.5),(1482.295,1922.5),(1488.035,1908.642),(1498.642,1898.035),(1512.5,1892.295)],
  [(1397.5,1892.295),(1411.358,1898.035),(1421.965,1908.642),(1427.705,1922.5),(1427.705,1937.5),(1421.965,1951.358),(1411.358,1961.965),(1397.5,1967.705),(1382.5,1967.705),(1368.642,1961.965),(1358.035,1951.358),(1352.295,1937.5),(1352.295,1922.5),(1358.035,1908.642),(1368.642,1898.035),(1382.5,1892.295)],
  [(1267.5,1892.295),(1281.358,1898.035),(1291.965,1908.642),(1297.705,1922.5),(1297.705,1937.5),(1291.965,1951.358),(1281.358,1961.965),(1267.5,1967.705),(1252.5,1967.705),(1238.642,1961.965),(1228.035,1951.358),(1222.295,1937.5),(1222.295,1922.5),(1228.035,1908.642),(1238.642,1898.035),(1252.5,1892.295)],
  [(1137.5,1892.295),(1151.358,1898.035),(1161.965,1908.642),(1167.705,1922.5),(1167.705,1937.5),(1161.965,1951.358),(1151.358,1961.965),(1137.5,1967.705),(1122.5,1967.705),(1108.642,1961.965),(1098.035,1951.358),(1092.295,1937.5),(1092.295,1922.5),(1098.035,1908.642),(1108.642,1898.035),(1122.5,1892.295)],
  [(1007.5,1892.295),(1021.358,1898.035),(1031.965,1908.642),(1037.705,1922.5),(1037.705,1937.5),(1031.965,1951.358),(1021.358,1961.965),(1007.5,1967.705),(992.5,1967.705),(978.642,1961.965),(968.035,1951.358),(962.295,1937.5),(962.295,1922.5),(968.035,1908.642),(978.642,1898.035),(992.5,1892.295)],
  [(877.5,1892.295),(891.358,1898.035),(901.965,1908.642),(907.705,1922.5),(907.705,1937.5),(901.965,1951.358),(891.358,1961.965),(877.5,1967.705),(862.5,1967.705),(848.642,1961.965),(838.035,1951.358),(832.295,1937.5),(832.295,1922.5),(838.035,1908.642),(848.642,1898.035),(862.5,1892.295)],
  [(747.5,1892.295),(761.358,1898.035),(771.965,1908.642),(777.705,1922.5),(777.705,1937.5),(771.965,1951.358),(761.358,1961.965),(747.5,1967.705),(732.5,1967.705),(718.642,1961.965),(708.035,1951.358),(702.295,1937.5),(702.295,1922.5),(708.035,1908.642),(718.642,1898.035),(732.5,1892.295)],
  [(617.5,1892.295),(631.358,1898.035),(641.965,1908.642),(647.705,1922.5),(647.705,1937.5),(641.965,1951.358),(631.358,1961.965),(617.5,1967.705),(602.5,1967.705),(588.642,1961.965),(578.035,1951.358),(572.295,1937.5),(572.295,1922.5),(578.035,1908.642),(588.642,1898.035),(602.5,1892.295)],
  [(487.5,1892.295),(501.358,1898.035),(511.965,1908.642),(517.705,1922.5),(517.705,1937.5),(511.965,1951.358),(501.358,1961.965),(487.5,1967.705),(472.5,1967.705),(458.642,1961.965),(448.035,1951.358),(442.295,1937.5),(442.295,1922.5),(448.035,1908.642),(458.642,1898.035),(472.5,1892.295)],
  [(357.5,1892.295),(371.358,1898.035),(381.965,1908.642),(387.705,1922.5),(387.705,1937.5),(381.965,1951.358),(371.358,1961.965),(357.5,1967.705),(342.5,1967.705),(328.642,1961.965),(318.035,1951.358),(312.295,1937.5),(312.295,1922.5),(318.035,1908.642),(328.642,1898.035),(342.5,1892.295)],
  [(227.5,1892.295),(241.358,1898.035),(251.965,1908.642),(257.705,1922.5),(257.705,1937.5),(251.965,1951.358),(241.358,1961.965),(227.5,1967.705),(212.5,1967.705),(198.642,1961.965),(188.035,1951.358),(182.295,1937.5),(182.295,1922.5),(188.035,1908.642),(198.642,1898.035),(212.5,1892.295)],
  [(77.5,1742.295),(91.358,1748.035),(101.965,1758.642),(107.705,1772.5),(107.705,1787.5),(101.965,1801.358),(91.358,1811.965),(77.5,1817.705),(62.5,1817.705),(48.642,1811.965),(38.035,1801.358),(32.295,1787.5),(32.295,1772.5),(38.035,1758.642),(48.642,1748.035),(62.5,1742.295)],
  [(77.5,1612.295),(91.358,1618.035),(101.965,1628.642),(107.705,1642.5),(107.705,1657.5),(101.965,1671.358),(91.358,1681.965),(77.5,1687.705),(62.5,1687.705),(48.642,1681.965),(38.035,1671.358),(32.295,1657.5),(32.295,1642.5),(38.035,1628.642),(48.642,1618.035),(62.5,1612.295)],
  [(77.5,1482.295),(91.358,1488.035),(101.965,1498.642),(107.705,1512.5),(107.705,1527.5),(101.965,1541.358),(91.358,1551.965),(77.5,1557.705),(62.5,1557.705),(48.642,1551.965),(38.035,1541.358),(32.295,1527.5),(32.295,1512.5),(38.035,1498.642),(48.642,1488.035),(62.5,1482.295)],
  [(77.5,1352.295),(91.358,1358.035),(101.965,1368.642),(107.705,1382.5),(107.705,1397.5),(101.965,1411.358),(91.358,1421.965),(77.5,1427.705),(62.5,1427.705),(48.642,1421.965),(38.035,1411.358),(32.295,1397.5),(32.295,1382.5),(38.035,1368.642),(48.642,1358.035),(62.5,1352.295)],
  [(77.5,1222.295),(91.358,1228.035),(101.965,1238.642),(107.705,1252.5),(107.705,1267.5),(101.965,1281.358),(91.358,1291.965),(77.5,1297.705),(62.5,1297.705),(48.642,1291.965),(38.035,1281.358),(32.295,1267.5),(32.295,1252.5),(38.035,1238.642),(48.642,1228.035),(62.5,1222.295)],
  [(77.5,1092.295),(91.358,1098.035),(101.965,1108.642),(107.705,1122.5),(107.705,1137.5),(101.965,1151.358),(91.358,1161.965),(77.5,1167.705),(62.5,1167.705),(48.642,1161.965),(38.035,1151.358),(32.295,1137.5),(32.295,1122.5),(38.035,1108.642),(48.642,1098.035),(62.5,1092.295)],
  [(77.5,962.295),(91.358,968.035),(101.965,978.642),(107.705,992.5),(107.705,1007.5),(101.965,1021.358),(91.358,1031.965),(77.5,1037.705),(62.5,1037.705),(48.642,1031.965),(38.035,1021.358),(32.295,1007.5),(32.295,992.5),(38.035,978.642),(48.642,968.035),(62.5,962.295)])

lib.write_gds('DaisyChainUnit.gds')
